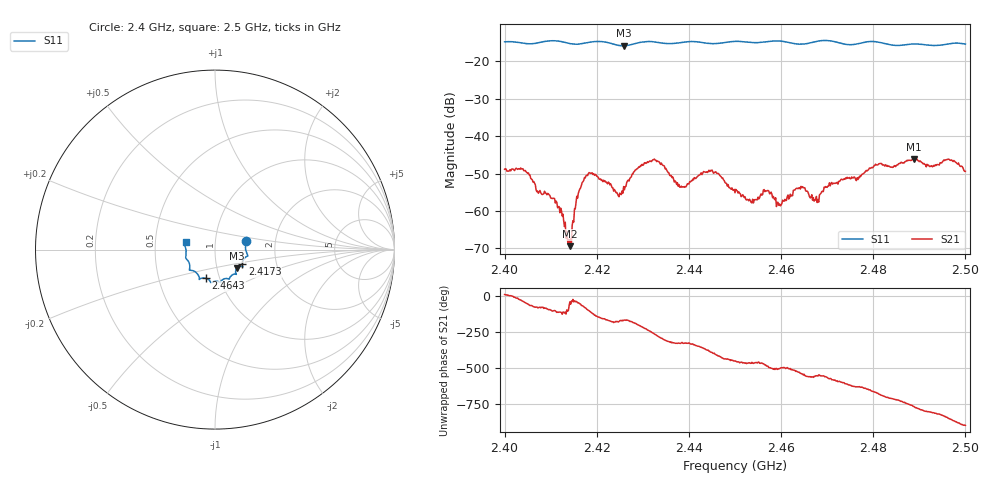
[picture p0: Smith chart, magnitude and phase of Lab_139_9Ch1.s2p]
# Hz S RI R 50
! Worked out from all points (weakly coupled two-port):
!   601 points, 2.4 GHz to 2.5 GHz, reference 50 ohm
!   highest |S21| = -46.11 dB at 2.4888 GHz (marker M1); lowest = -69.4 dB at 2.4142 GHz (marker M2)
!   lowest |S11| = -15.9 dB at 2.4258 GHz (marker M3), VSWR 1.38, Z = 62.3 - j13.3 ohm
!   |S11| at or under -10 dB: start of sweep to end of sweep
!   S12 and S22 are empty: the file has one direction only
!   S11 on the Smith chart (normalised r, x): 2.4 GHz: 1.41, +0.14; 2.4173 GHz: 1.34, -0.23; 2.4643 GHz: 0.86, -0.28; 2.5 GHz: 0.72, +0.06
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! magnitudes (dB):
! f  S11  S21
! 2.4 GHz  -14.9  -48.9
! 2.404 GHz  -15.2  -48.8
! 2.4108 GHz  -14.6  -56.7
! 2.4142 GHz  -15.3  -69.4
! 2.4167 GHz  -15.4  -53.2
! 2.4173 GHz  -15.2  -51.1
! 2.4188 GHz  -14.9  -50.0
! 2.4258 GHz  -15.9  -53.5
! 2.429 GHz  -15.1  -48.5
! 2.4333 GHz  -15.0  -46.8
! 2.4382 GHz  -15.1  -53.6
! 2.4447 GHz  -15.3  -49.2
! 2.45 GHz  -14.7  -55.1
! 2.4535 GHz  -15.0  -57.7
! 2.4568 GHz  -14.9  -54.7
! 2.4595 GHz  -14.6  -58.5
! 2.4643 GHz  -15.5  -53.4
! 2.4667 GHz  -15.0  -55.7
! 2.4833 GHz  -15.6  -48.0
! 2.4888 GHz  -15.4  -46.1
! 2.4965 GHz  -15.4  -46.2
! 2.5 GHz  -15.5  -49.4
